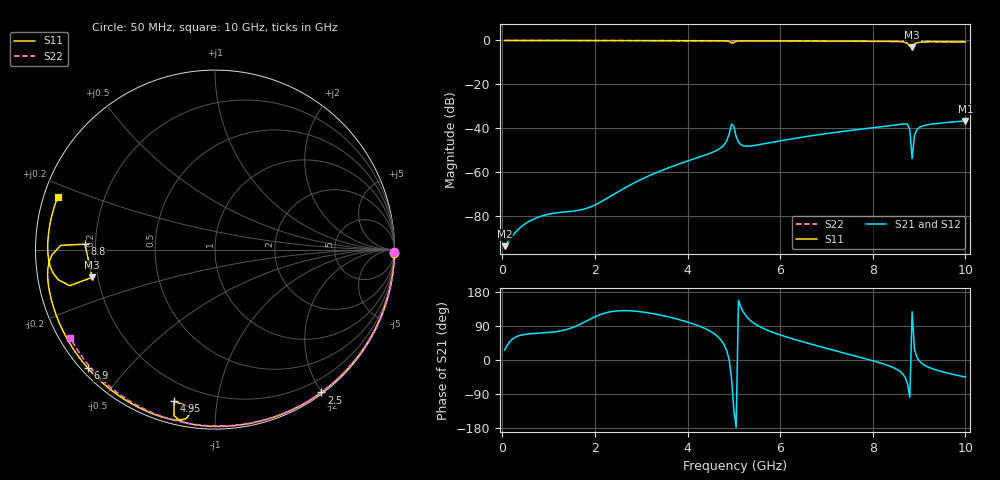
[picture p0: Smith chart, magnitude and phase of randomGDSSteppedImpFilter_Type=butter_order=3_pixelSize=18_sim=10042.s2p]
! freq	dB(S11)	phase(S11)	dB(S12)	phase(S12)
!  dB(S21)	phase(S21)	dB(S22)	phase(S22)
!S-par simulation data
#  GHz  S  DB  R 50
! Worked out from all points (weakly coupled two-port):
!   200 points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, 50 MHz to 10 GHz, reference 50 ohm
!   highest |S21| = -36.73 dB at 10 GHz (marker M1); lowest = -93.9 dB at 50 MHz (marker M2)
!   lowest |S11| = -3.1 dB at 8.85 GHz (marker M3), VSWR 5.70, Z = 8.88 - j5.4 ohm
!   |S11| at or under -10 dB: nowhere
!   |S22| runs from -0.5 to 0.0 dB; largest |S21 - S12| = 0
!   S11 on the Smith chart (normalised r, x): 50 MHz: open; 2.5 GHz: 0.02, -1.99; 4.95 GHz: 0.11, -0.76; 6.9 GHz: 0.02, -0.39; 8.8 GHz: 0.16, +0.02; 10 GHz: 0.04, +0.16
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0.05  -0.00 -1.1  -93.90 26.5  -93.90 26.5  -0.00 -0.9
0.85  -0.02 -18.6  -80.16 71.1  -80.16 71.1  -0.02 -14.6
1.75  -0.05 -37.7  -77.07 98.6  -77.07 98.6  -0.04 -29.7
2.5  -0.07 -53.4  -69.08 129.8  -69.08 129.8  -0.05 -42.1
3.4  -0.09 -71.5  -59.69 118.8  -59.69 118.8  -0.08 -56.4
4.7  -0.16 -97.6  -49.28 55.8  -49.28 55.8  -0.11 -76.3
4.85  -0.25 -101.7  -45.57 23.5  -45.57 23.5  -0.12 -78.6
4.95  -1.16 -105.2  -38.18 -48.5  -38.18 -48.5  -0.13 -80.1
5  -1.00 -97.8  -39.25 -131.9  -39.25 -131.9  -0.14 -80.7
5.05  -0.41 -99.6  -43.86 -177.3  -43.86 -177.3  -0.13 -81.4
5.15  -0.22 -103.1  -47.54 140.1  -47.54 140.1  -0.13 -82.9
5.3  -0.19 -106.6  -48.26 111.0  -48.26 111.0  -0.14 -85.1
6.7  -0.26 -133.3  -43.43 40.7  -43.43 40.7  -0.20 -104.8
6.9  -0.28 -137.0  -42.81 34.1  -42.81 34.1  -0.22 -107.5
8.35  -0.44 -166.0  -38.99 -15.5  -38.99 -15.5  -0.33 -126.9
8.7  -0.82 -178.0  -38.05 -46.1  -38.05 -46.1  -0.36 -131.6
8.75  -1.30 178.4  -38.31 -62.4  -38.31 -62.4  -0.37 -132.2
8.8  -2.79 177.6  -40.80 -98.7  -40.80 -98.7  -0.37 -132.8
8.85  -3.08 -167.3  -53.91 127.5  -53.91 127.5  -0.37 -133.5
8.9  -1.57 -166.0  -43.44 28.2  -43.44 28.2  -0.38 -134.2
9  -0.81 -171.7  -39.80 -1.7  -39.80 -1.7  -0.39 -135.5
10  -0.69 161.7  -36.73 -45.0  -36.73 -45.0  -0.50 -148.7
